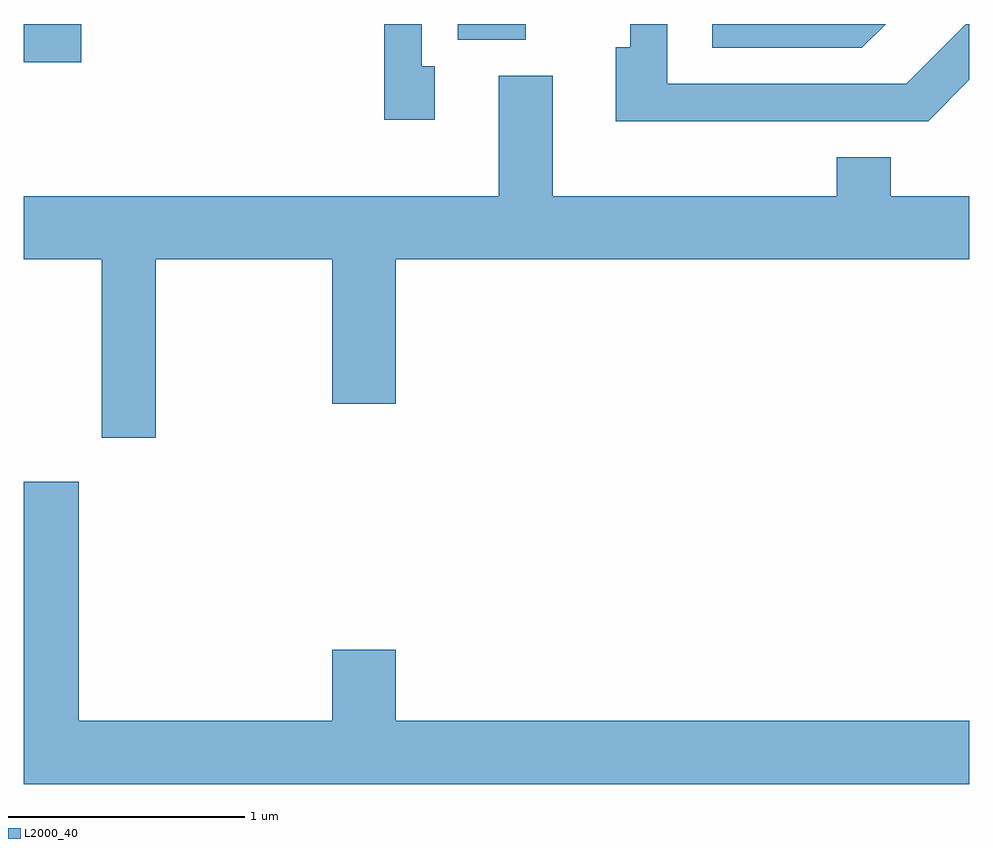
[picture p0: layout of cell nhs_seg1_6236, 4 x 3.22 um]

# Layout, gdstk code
import gdstk
lib = gdstk.Library(unit=1e-6, precision=1e-09)
def R(c, l, rs):  # rectangles x0, y0, x1, y1
    for r in rs: c.add(gdstk.rectangle(r[:2], r[2:], *l))
def P(c, l, *ps):  # polygons
    for p in ps: c.add(gdstk.Polygon(p, *l))
L2000_40 = (2000, 40)

nhs_seg1_6236 = lib.new_cell('nhs_seg1_6236')
R(nhs_seg1_6236, L2000_40, [(373.611,871.551,373.854,871.712), (375.446,871.646,375.734,871.712)])
P(nhs_seg1_6236, L2000_40, [(377.258,871.712),(376.523,871.712),(376.523,871.611),(377.157,871.611)],
  [(375.349,871.534),(375.294,871.534),(375.294,871.712),(375.136,871.712),(375.136,871.306),(375.349,871.306)],
  [(377.611,871.476),(377.611,871.712),(377.596,871.712),(377.344,871.459),(376.334,871.459),(376.334,871.712),(376.176,871.712),(376.176,871.614),(376.116,871.614),(376.116,871.301),(377.437,871.301)],
  [(374.169,870.716),(374.916,870.716),(374.916,870.106),(375.184,870.106),(375.184,870.716),(377.611,870.716),(377.611,870.984),(377.279,870.984),(377.279,871.149),(377.051,871.149),(377.051,870.984),(375.849,870.984),(375.849,871.494),(375.621,871.494),(375.621,870.984),(373.611,870.984),(373.611,870.716),(373.941,870.716),(373.941,869.961),(374.169,869.961)],
  [(377.611,868.764),(375.184,868.764),(375.184,869.064),(374.916,869.064),(374.916,868.764),(373.844,868.764),(373.844,869.774),(373.611,869.774),(373.611,868.496),(377.611,868.496)])

lib.write_gds('nhs_seg1_6236.gds')
